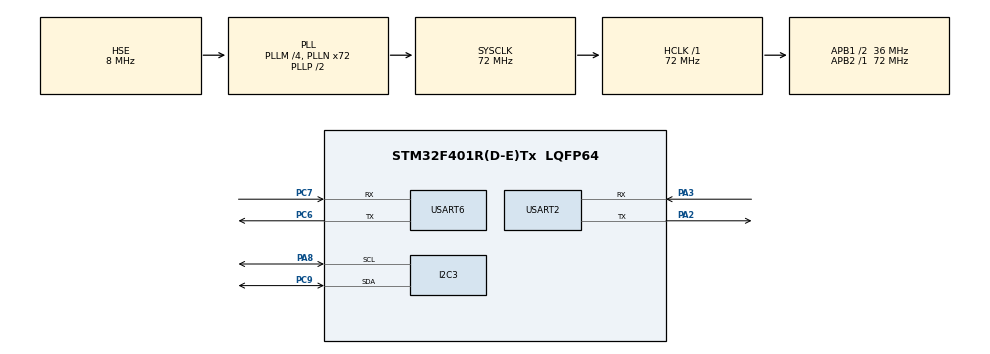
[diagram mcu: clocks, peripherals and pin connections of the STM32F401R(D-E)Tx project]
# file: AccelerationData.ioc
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Mcu.Family=STM32F4
RCC.PLLSourceVirtual=RCC_PLLSOURCE_HSE
RCC.CortexFreq_Value=72000000
PH1\ -\ OSC_OUT.Mode=HSE-External-Oscillator
PC6.Signal=USART6_TX
RCC.APB1CLKDivider=RCC_HCLK_DIV2
NVIC.USART2_IRQn=true\:0\:0\:false\:false\:true\:true\:true
RCC.SYSCLKSource=RCC_SYSCLKSOURCE_PLLCLK
ProjectManager.StackSize=0x400
NVIC.USART6_IRQn=true\:0\:0\:false\:false\:true\:true\:true
PA13.Signal=SYS_JTMS-SWDIO
PA3.Mode=Asynchronous
PH0\ -\ OSC_IN.Mode=HSE-External-Oscillator
PH0\ -\ OSC_IN.Signal=RCC_OSC_IN
ProjectManager.TargetToolchain=STM32CubeIDE
PC6.Mode=Asynchronous
RCC.HCLKFreq_Value=72000000
RCC.APB2TimFreq_Value=72000000
PC7.Signal=USART6_RX
RCC.LSE_VALUE=32768
RCC.AHBFreq_Value=72000000
RCC.HSE_VALUE=8000000
PH1\ -\ OSC_OUT.Signal=RCC_OSC_OUT
board=custom
RCC.VCOOutputFreq_Value=144000000
NVIC.I2C3_EV_IRQn=true\:0\:0\:false\:false\:true\:true\:true
RCC.APB2Freq_Value=72000000
PA14.Mode=Serial_Wire
PC9.Mode=I2C
PA8.Signal=I2C3_SCL
PA13.Mode=Serial_Wire
Mcu.Name=STM32F401R(D-E)Tx
PA2.Signal=USART2_TX
RCC.48MHZClocksFreq_Value=36000000
RCC.SYSCLKFreq_VALUE=72000000
Mcu.Package=LQFP64
USART2.VirtualMode=VM_ASYNC
USART6.VirtualMode=VM_ASYNC
PA14.Signal=SYS_JTCK-SWCLK
ProjectManager.HeapSize=0x200
RCC.HSI_VALUE=16000000
NVIC.PriorityGroup=NVIC_PRIORITYGROUP_4
RCC.PLLM=4
NVIC.I2C3_ER_IRQn=true\:0\:0\:false\:false\:true\:true\:true
RCC.PLLN=72
RCC.APB1TimFreq_Value=72000000
PA2.Mode=Asynchronous
PA8.Mode=I2C
PC9.Signal=I2C3_SDA
PC7.Mode=Asynchronous
RCC.APB1Freq_Value=36000000
PA3.Signal=USART2_RX

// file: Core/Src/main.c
/* USER CODE BEGIN Header */
/**
  ******************************************************************************
  * @file           : main.c
  * @brief          : Main program body
  ******************************************************************************
  * @attention
  *
  * <h2><center>&copy; Copyright (c) 2021 STMicroelectronics.
  * All rights reserved.</center></h2>
  *
  * This software component is licensed by ST under BSD 3-Clause license,
  * the "License"; You may not use this file except in compliance with the
  * License. You may obtain a copy of the License at:
  *                        opensource.org/licenses/BSD-3-Clause
  *
  ******************************************************************************
  */
/* USER CODE END Header */
#include "main.h"

/* USER CODE BEGIN Includes */

#include "i2c-lcd.h"
#include <stdio.h>
#include <string.h>
#include "UartRingbuffer.h"
#include "ESP_DATA_HANDLER.h"

/* USER CODE END Includes */

I2C_HandleTypeDef hi2c3;

UART_HandleTypeDef huart2;
UART_HandleTypeDef huart6;

void SystemClock_Config(void);
static void MX_GPIO_Init(void);
static void MX_I2C3_Init(void);
static void MX_USART2_UART_Init(void);
static void MX_USART6_UART_Init(void);

/* USER CODE BEGIN 0 */

#define MPU6050_ADDR 0xD0 	//0x68 is the slave address. (0x68 << 1 = 0xD0)
							// it is done because slave address is 7 bit address
							// and for including RW bit for i2c communication we do left shift by 1
							// https://www.circuitbasics.com/basics-of-the-i2c-communication-protocol/ --- to get details of I2C communication
#define WHO_AM_I_REG 0x75
#define PWR_MGMT_1 0x6B
#define SMPLRT_DIV 0x19
#define GYRO_CONFIG 0x1B
#define ACCEL_CONFIG 0x1C
#define ACCEL_XOUT_H 0x3B
#define ACCEL_XOUT_L 0x3C
#define ACCEL_YOUT_H 0x3D
#define ACCEL_YOUT_L 0x3E
#define ACCEL_ZOUT_H 0x3F
#define ACCEL_ZOUT_L 0x40
#define GYRO_XOUT_H 0x43
#define GYRO_XOUT_L 0x44
#define GYRO_YOUT_H 0x45
#define GYRO_YOUT_L 0x46
#define GYRO_ZOUT_H 0x47
#define GYRO_ZOUT_L 0x48

// signed int is used because the sensor output is in 16bit 2's complement
// meaning 1 in MSB indicate -ve value, 0 in MSB indicate +ve value
int16_t acc_x_raw = 0;
int16_t acc_y_raw = 0;
int16_t acc_z_raw = 0;

int16_t gyro_x_raw = 0;
int16_t gyro_y_raw = 0;
int16_t gyro_z_raw = 0;

float Ax, Ay, Az, Gx, Gy, Gz;

uint8_t aData[2];
uint8_t bData[2];
uint8_t cData[2];

// Initialisation
void MPU6050_Init(void)
{
	uint8_t check, Data;
	//  identitification of the device
	HAL_I2C_Mem_Read(&hi2c3, MPU6050_ADDR, WHO_AM_I_REG, 1, &check, 1, 1000);

	if(check == 104)	// if device present
	{
		// power management register initialisation
		Data = 0x00;	// Data is 0 to wakeup sensor
		HAL_I2C_Mem_Write(&hi2c3, MPU6050_ADDR, PWR_MGMT_1, 1, &Data, 1, 1000);
	}

		//Data Rate set to 1kHz using SMPLRT_DIV register
		Data = 0x07;	//ie.,Enabling DLPF (register 26 - MPU6050 datasheet)
		HAL_I2C_Mem_Write(&hi2c3, MPU6050_ADDR, SMPLRT_DIV, 1, &Data, 1, 1000);

		//configuring accelerometer
		//XA_ST=0 (means no self test), YA_ST=0, ZA_ST=0, AFS_SEL=0(means± 2g)
		Data = 0x00;
		HAL_I2C_Mem_Write(&hi2c3, MPU6050_ADDR, ACCEL_CONFIG, 1, &Data, 1, 1000);

		//configuring gyroscope
		//XG_ST=0 (means no self test), YG_ST=0, ZG_ST=0, FS_SEL=0(means ± 250 °/s)
		Data = 0x00;
		HAL_I2C_Mem_Write(&hi2c3, MPU6050_ADDR, GYRO_CONFIG, 1, &Data, 1, 1000);
}

// Reading accelerometer raw values
void AccelerationRead(void)
{
//	uint8_t aData[2];
//	uint8_t bData[2];
//	uint8_t cData[2];

	// X, Y, Z values Memory read
	HAL_I2C_Mem_Read(&hi2c3, MPU6050_ADDR, ACCEL_XOUT_H, 1, aData, 2, 1000);
	HAL_I2C_Mem_Read(&hi2c3, MPU6050_ADDR, ACCEL_YOUT_H, 1, bData, 2, 1000);
	HAL_I2C_Mem_Read(&hi2c3, MPU6050_ADDR, ACCEL_ZOUT_H, 1, cData, 2, 1000);

	// sensor data is received one after the other
	// so the higher byte is left shifted by 8 places
	// the the higher and lower byte are combined to a single 16 bit sensor value

	acc_x_raw = (int16_t)(aData[0]<<8 | aData[1]);
	acc_y_raw = (int16_t)(bData[0]<<8 | bData[1]);
	acc_z_raw = (int16_t)(cData[0]<<8 | cData[1]);

	// Converting acceleration raw values in terms of 'g'
	Ax = acc_x_raw/16384.0;	// LSB Sensitivity = 16384 for full scale range of 2g. also 16384.0 is used for float values
	Ay = acc_y_raw/16384.0;
	Az = acc_z_raw/16384.0;

//	// Sending via Serial
	HAL_Delay(1);
//	uint8_t test= 65;
	HAL_UART_Transmit(&huart6, aData, 2, 1000);

}

// Reading  Gyroscope raw values
void GyroscopeRead(void)
{
	uint8_t gData[2];
	uint8_t hData[2];
	uint8_t iData[2];
//	int16_t gyro_x_raw;
//	int16_t gyro_y_raw;
//	int16_t gyro_z_raw;

	HAL_I2C_Mem_Read(&hi2c3, MPU6050_ADDR, GYRO_XOUT_H, 1, gData, 2, 1000);
	HAL_I2C_Mem_Read(&hi2c3, MPU6050_ADDR, GYRO_YOUT_H, 1, hData, 2, 1000);
	HAL_I2C_Mem_Read(&hi2c3, MPU6050_ADDR, GYRO_ZOUT_H, 1, iData, 2, 1000);

	gyro_x_raw = (int16_t)(gData[0]<<8  | gData[1]);
	gyro_y_raw = (int16_t)(hData[0]<<8	| hData[1]);
	gyro_z_raw = (int16_t)(iData[0]<<8	| iData[1]);

	// converting raw gyroscope values to degree/sec
	Gx = gyro_x_raw/131.0;	// LSB Sensitivity = 131 LSB/°/s for full scale range of ± 250 °/s also 131.0 is used for float values
	Gy = gyro_y_raw/131.0;
	Gz = gyro_z_raw/131.0;
}

/* USER CODE END 0 */

int main(void)
{

  /* MCU Configuration--------------------------------------------------------*/

  /* Reset of all peripherals, Initializes the Flash interface and the Systick. */
  HAL_Init();

  /* Configure the system clock */
  SystemClock_Config();

  /* Initialize all configured peripherals */
  MX_GPIO_Init();
  MX_I2C3_Init();
  MX_USART2_UART_Init();
  MX_USART6_UART_Init();
  /* USER CODE BEGIN 2 */

  //ESP
//  ESP_Init("JioFiber 1", "Dexiatoungjio", "192.168.0.102");

 //LCD commands
  lcd_init();
  MPU6050_Init();
  lcd_send_string("Initialized");
  HAL_Delay(1);

  lcd_clear();
  lcd_send_cmd(0x80 | 0x5A);
  lcd_send_string("MPU6050");

  // ESP commands
// ESP_Init("JioFiber 1", "Dexiatoungjio", "192.168.29.212/24");

  char buf[4];

  /* USER CODE END 2 */

  /* Infinite loop */
  while (1)
  {

    /* USER CODE BEGIN 3 */
	  AccelerationRead();
//	  GyroscopeRead();

	  // Print on LCD
	  lcd_send_cmd(0x80 | 0x00); //Row,Col ---> 1,1
	  lcd_send_string("Ax=");
	  sprintf(buf, "%.2f", Ax);
	  lcd_send_string(buf);
	  lcd_send_string("g ");

	  lcd_send_cmd(0x80 | 0x40); //2,1
	  lcd_send_string("Ay=");
	  sprintf(buf, "%.2f", Ay);
	  lcd_send_string(buf);
	  lcd_send_string("g ");

	  lcd_send_cmd(0x80 | 0x14); //3,1
	  lcd_send_string("Az=");
	  sprintf(buf, "%.2f", Az);
	  lcd_send_string(buf);
	  lcd_send_string("g ");

//	  lcd_send_cmd(0x80 | 0x0A); //1,11
//	  lcd_send_string("Gx=");
//	  sprintf(buf, "%.2f", Gx);
//	  lcd_send_string(buf);
//
//	  lcd_send_cmd(0x80 | 0x4A); //2,11
//	  lcd_send_string("Gy=");
//	  sprintf(buf, "%.2f", Gy);
//	  lcd_send_string(buf);
//
//	  lcd_send_cmd(0x80 | 0x1E); //3,11
//	  lcd_send_string("Gz=");
//	  sprintf(buf, "%.2f", Gz);
//	  lcd_send_string(buf);

	  HAL_Delay(1);
  }
  /* USER CODE END 3 */
}

void SystemClock_Config(void)
{
  RCC_OscInitTypeDef RCC_OscInitStruct = {0};
  RCC_ClkInitTypeDef RCC_ClkInitStruct = {0};

  /** Configure the main internal regulator output voltage
  */
  __HAL_RCC_PWR_CLK_ENABLE();
  __HAL_PWR_VOLTAGESCALING_CONFIG(PWR_REGULATOR_VOLTAGE_SCALE2);
  /** Initializes the RCC Oscillators according to the specified parameters
  * in the RCC_OscInitTypeDef structure.
  */
  RCC_OscInitStruct.OscillatorType = RCC_OSCILLATORTYPE_HSE;
  RCC_OscInitStruct.HSEState = RCC_HSE_ON;
  RCC_OscInitStruct.PLL.PLLState = RCC_PLL_ON;
  RCC_OscInitStruct.PLL.PLLSource = RCC_PLLSOURCE_HSE;
  RCC_OscInitStruct.PLL.PLLM = 4;
  RCC_OscInitStruct.PLL.PLLN = 72;
  RCC_OscInitStruct.PLL.PLLP = RCC_PLLP_DIV2;
  RCC_OscInitStruct.PLL.PLLQ = 4;
  if (HAL_RCC_OscConfig(&RCC_OscInitStruct) != HAL_OK)
  {
    Error_Handler();
  }
  /** Initializes the CPU, AHB and APB buses clocks
  */
  RCC_ClkInitStruct.ClockType = RCC_CLOCKTYPE_HCLK|RCC_CLOCKTYPE_SYSCLK
                              |RCC_CLOCKTYPE_PCLK1|RCC_CLOCKTYPE_PCLK2;
  RCC_ClkInitStruct.SYSCLKSource = RCC_SYSCLKSOURCE_PLLCLK;
  RCC_ClkInitStruct.AHBCLKDivider = RCC_SYSCLK_DIV1;
  RCC_ClkInitStruct.APB1CLKDivider = RCC_HCLK_DIV2;
  RCC_ClkInitStruct.APB2CLKDivider = RCC_HCLK_DIV1;

  if (HAL_RCC_ClockConfig(&RCC_ClkInitStruct, FLASH_LATENCY_2) != HAL_OK)
  {
    Error_Handler();
  }
}

static void MX_I2C3_Init(void)
{

  hi2c3.Instance = I2C3;
  hi2c3.Init.ClockSpeed = 100000;
  hi2c3.Init.DutyCycle = I2C_DUTYCYCLE_2;
  hi2c3.Init.OwnAddress1 = 0;
  hi2c3.Init.AddressingMode = I2C_ADDRESSINGMODE_7BIT;
  hi2c3.Init.DualAddressMode = I2C_DUALADDRESS_DISABLE;
  hi2c3.Init.OwnAddress2 = 0;
  hi2c3.Init.GeneralCallMode = I2C_GENERALCALL_DISABLE;
  hi2c3.Init.NoStretchMode = I2C_NOSTRETCH_DISABLE;
  if (HAL_I2C_Init(&hi2c3) != HAL_OK)
  {
    Error_Handler();
  }

}

static void MX_USART2_UART_Init(void)
{

  huart2.Instance = USART2;
  huart2.Init.BaudRate = 115200;
  huart2.Init.WordLength = UART_WORDLENGTH_8B;
  huart2.Init.StopBits = UART_STOPBITS_1;
  huart2.Init.Parity = UART_PARITY_NONE;
  huart2.Init.Mode = UART_MODE_TX_RX;
  huart2.Init.HwFlowCtl = UART_HWCONTROL_NONE;
  huart2.Init.OverSampling = UART_OVERSAMPLING_16;
  if (HAL_UART_Init(&huart2) != HAL_OK)
  {
    Error_Handler();
  }

}

static void MX_USART6_UART_Init(void)
{

  huart6.Instance = USART6;
  huart6.Init.BaudRate = 115200;
  huart6.Init.WordLength = UART_WORDLENGTH_8B;
  huart6.Init.StopBits = UART_STOPBITS_1;
  huart6.Init.Parity = UART_PARITY_NONE;
  huart6.Init.Mode = UART_MODE_TX_RX;
  huart6.Init.HwFlowCtl = UART_HWCONTROL_NONE;
  huart6.Init.OverSampling = UART_OVERSAMPLING_16;
  if (HAL_UART_Init(&huart6) != HAL_OK)
  {
    Error_Handler();
  }

}

static void MX_GPIO_Init(void)
{

  /* GPIO Ports Clock Enable */
  __HAL_RCC_GPIOH_CLK_ENABLE();
  __HAL_RCC_GPIOA_CLK_ENABLE();
  __HAL_RCC_GPIOC_CLK_ENABLE();

}

void Error_Handler(void)
{
  __disable_irq();
  while (1)
  {
  }
}

/************************ (C) COPYRIGHT STMicroelectronics *****END OF FILE****/
